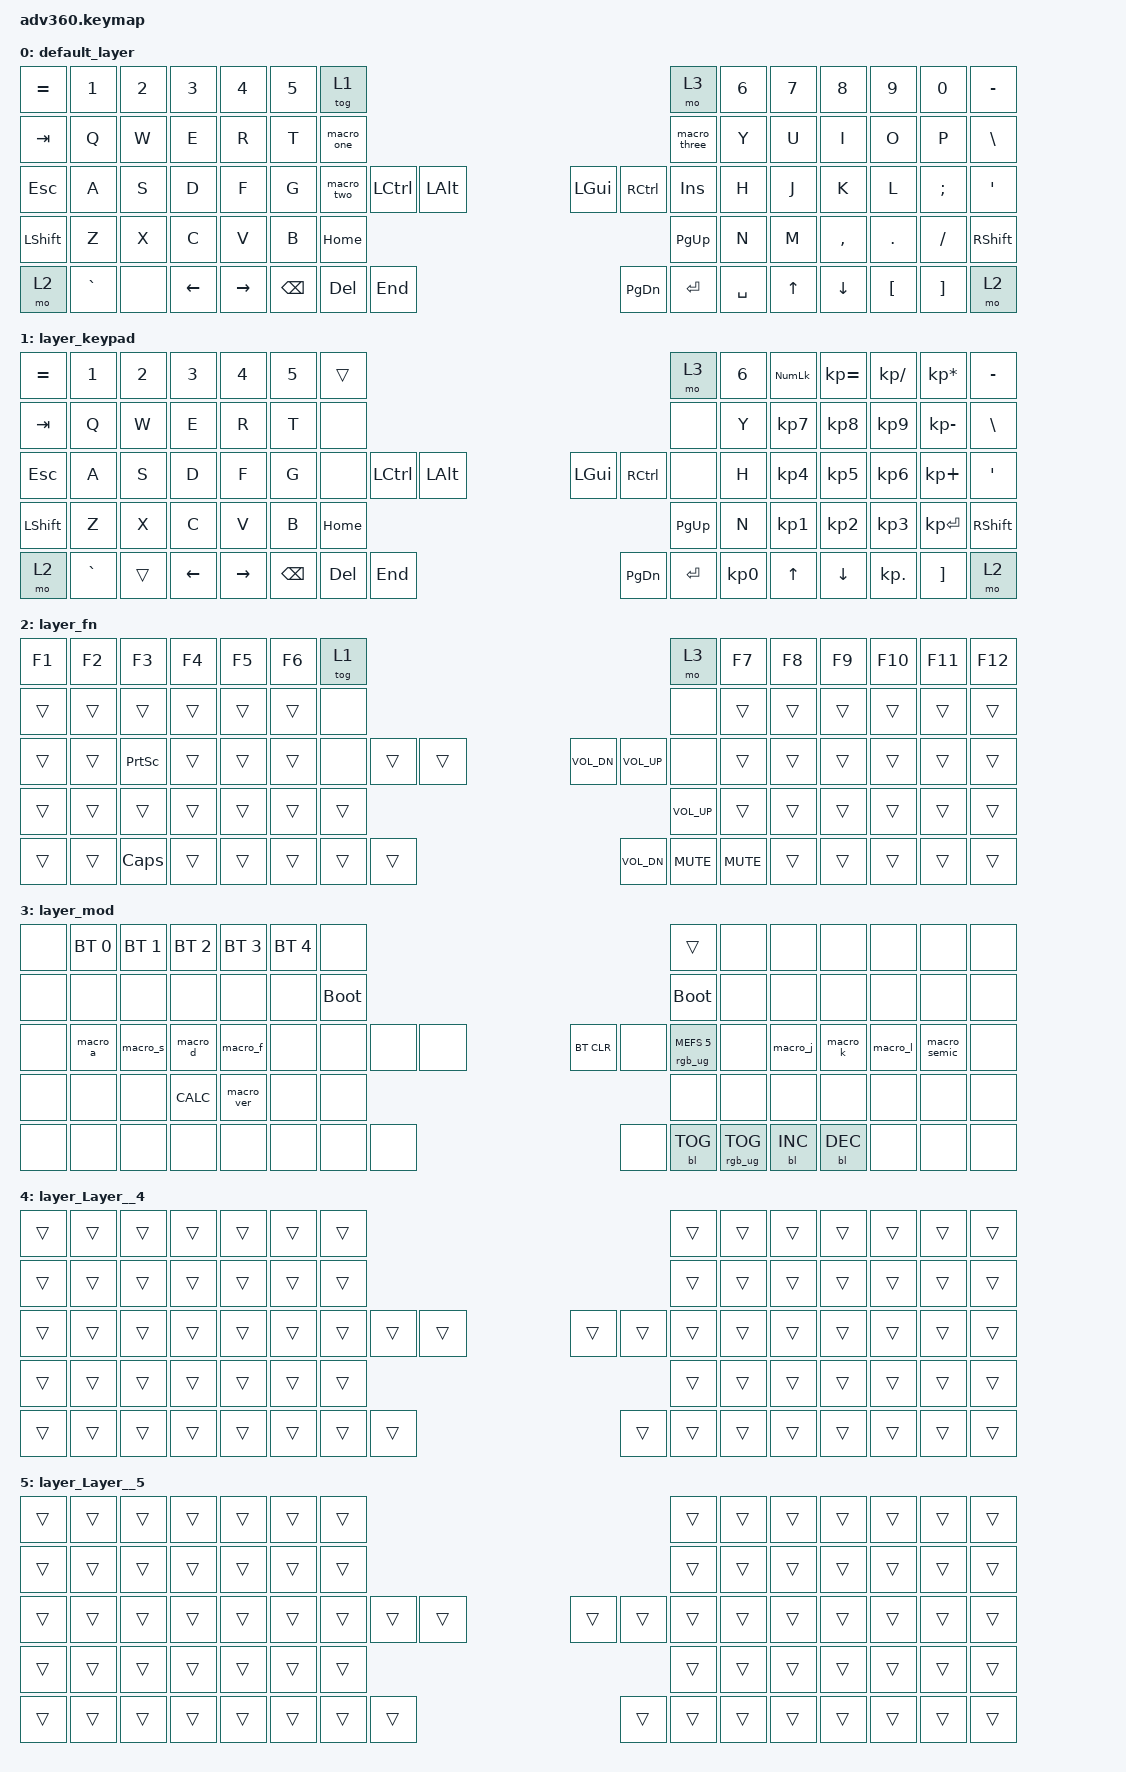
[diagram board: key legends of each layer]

/*
 * Copyright (c) 2020 The ZMK Contributors
 *
 * SPDX-License-Identifier: MIT
 */


/* THIS FILE WAS GENERATED!
 *
 * This file was generated automatically. You may or may not want to
 * edit it directly.
 */

#include <behaviors.dtsi>
#include <dt-bindings/zmk/keys.h>
#include <dt-bindings/zmk/bt.h>
#include <dt-bindings/zmk/rgb.h>
#include <dt-bindings/zmk/backlight.h>

/ {
  behaviors {
    #include "macros.dtsi"
    #include "version.dtsi"

    hm: homerow_mods {
        compatible = "zmk,behavior-hold-tap";
        label = "HOMEROW_MODS";
        #binding-cells = <2>;
        tapping-term-ms = <200>;
        quick_tap_ms = <175>;
        flavor = "tap-preferred";
        bindings = <&kp>, <&kp>;
    };
  };

    keymap {
        compatible = "zmk,keymap";


        default_layer {
            bindings = <
 &kp EQUAL     &kp N1  &kp N2    &kp N3     &kp N4  &kp N5                &tog 1                                                                    &mo 3  &kp N6  &kp N7     &kp N8    &kp N9    &kp N0  &kp MINUS
   &kp TAB      &kp Q   &kp W     &kp E      &kp R   &kp T            &macro_one                                                             &macro_three   &kp Y   &kp U      &kp I     &kp O     &kp P   &kp BSLH
   &kp ESC      &kp A   &kp S     &kp D      &kp F   &kp G            &macro_two  &kp LCTRL  &kp LALT                   &kp LGUI  &kp RCTRL    &kp INSERT   &kp H   &kp J      &kp K     &kp L  &kp SEMI    &kp SQT
 &kp LSHFT      &kp Z   &kp X     &kp C      &kp V   &kp B                                   &kp HOME                  &kp PG_UP                            &kp N   &kp M  &kp COMMA   &kp DOT  &kp FSLH  &kp RSHFT
     &mo 2  &kp GRAVE   &none  &kp LEFT  &kp RIGHT                      &kp BSPC    &kp DEL   &kp END                  &kp PG_DN  &kp ENTER     &kp SPACE          &kp UP   &kp DOWN  &kp LBKT  &kp RBKT      &mo 2
            >;
        };

        layer_keypad {
            bindings = <
 &kp EQUAL     &kp N1  &kp N2    &kp N3     &kp N4  &kp N5              &trans                                                                 &mo 3  &kp N6  &kp KP_NUM  &kp KP_EQUAL  &kp KP_DIVIDE  &kp KP_MULTIPLY  &kp MINUS
   &kp TAB      &kp Q   &kp W     &kp E      &kp R   &kp T               &none                                                                 &none   &kp Y   &kp KP_N7     &kp KP_N8      &kp KP_N9     &kp KP_MINUS   &kp BSLH
   &kp ESC      &kp A   &kp S     &kp D      &kp F   &kp G               &none  &kp LCTRL  &kp LALT                   &kp LGUI  &kp RCTRL      &none   &kp H   &kp KP_N4     &kp KP_N5      &kp KP_N6      &kp KP_PLUS    &kp SQT
 &kp LSHFT      &kp Z   &kp X     &kp C      &kp V   &kp B                                 &kp HOME                  &kp PG_UP                         &kp N   &kp KP_N1     &kp KP_N2      &kp KP_N3     &kp KP_ENTER  &kp RSHFT
     &mo 2  &kp GRAVE  &trans  &kp LEFT  &kp RIGHT                    &kp BSPC    &kp DEL   &kp END                  &kp PG_DN  &kp ENTER  &kp KP_N0              &kp UP      &kp DOWN     &kp KP_DOT         &kp RBKT      &mo 2
            >;
        };

        layer_fn {
            bindings = <
 &kp F1  &kp F2           &kp F3  &kp F4  &kp F5  &kp F6            &tog 1                                                                   &mo 3  &kp F7  &kp F8  &kp F9  &kp F10  &kp F11  &kp F12
 &trans  &trans           &trans  &trans  &trans  &trans             &none                                                                   &none  &trans  &trans  &trans   &trans   &trans   &trans
 &trans  &trans  &kp PRINTSCREEN  &trans  &trans  &trans             &none  &trans  &trans                  &kp C_VOL_DN  &kp C_VOL_UP       &none  &trans  &trans  &trans   &trans   &trans   &trans
 &trans  &trans           &trans  &trans  &trans  &trans                            &trans                  &kp K_VOL_UP                            &trans  &trans  &trans   &trans   &trans   &trans
 &trans  &trans         &kp CAPS  &trans  &trans                    &trans  &trans  &trans                  &kp K_VOL_DN    &kp K_MUTE  &kp C_MUTE          &trans  &trans   &trans   &trans   &trans
            >;
        };

        layer_mod {
            bindings = <
  &none  &bt BT_SEL 0  &bt BT_SEL 1  &bt BT_SEL 2  &bt BT_SEL 3  &bt BT_SEL 4                  &none                                                                          &trans   &none       &none       &none     &none         &none   &none
  &none         &none         &none         &none         &none         &none            &bootloader                                                                     &bootloader   &none       &none       &none     &none         &none   &none
  &none      &macro_a      &macro_s      &macro_d      &macro_f         &none                  &none   &none   &none                  &bt BT_CLR       &none  &rgb_ug RGB_MEFS_CMD 5   &none    &macro_j    &macro_k  &macro_l  &macro_semic   &none
  &none         &none         &none    &kp K_CALC    &macro_ver         &none                                  &none                       &none                                       &none       &none       &none     &none         &none   &none
  &none         &none         &none         &none         &none                                &none   &none   &none                       &none  &bl BL_TOG         &rgb_ug RGB_TOG          &bl BL_INC  &bl BL_DEC     &none         &none   &none
            >;
        };

        layer_Layer__4 {
            bindings = <
 &trans  &trans  &trans  &trans  &trans  &trans            &trans                                                  &trans  &trans  &trans  &trans  &trans  &trans  &trans
 &trans  &trans  &trans  &trans  &trans  &trans            &trans                                                  &trans  &trans  &trans  &trans  &trans  &trans  &trans
 &trans  &trans  &trans  &trans  &trans  &trans            &trans  &trans  &trans                  &trans  &trans  &trans  &trans  &trans  &trans  &trans  &trans  &trans
 &trans  &trans  &trans  &trans  &trans  &trans                            &trans                  &trans                  &trans  &trans  &trans  &trans  &trans  &trans
 &trans  &trans  &trans  &trans  &trans                    &trans  &trans  &trans                  &trans  &trans  &trans          &trans  &trans  &trans  &trans  &trans
            >;
        };

        layer_Layer__5 {
            bindings = <
 &trans  &trans  &trans  &trans  &trans  &trans            &trans                                                  &trans  &trans  &trans  &trans  &trans  &trans  &trans
 &trans  &trans  &trans  &trans  &trans  &trans            &trans                                                  &trans  &trans  &trans  &trans  &trans  &trans  &trans
 &trans  &trans  &trans  &trans  &trans  &trans            &trans  &trans  &trans                  &trans  &trans  &trans  &trans  &trans  &trans  &trans  &trans  &trans
 &trans  &trans  &trans  &trans  &trans  &trans                            &trans                  &trans                  &trans  &trans  &trans  &trans  &trans  &trans
 &trans  &trans  &trans  &trans  &trans                    &trans  &trans  &trans                  &trans  &trans  &trans          &trans  &trans  &trans  &trans  &trans
            >;
        };

    };
};
